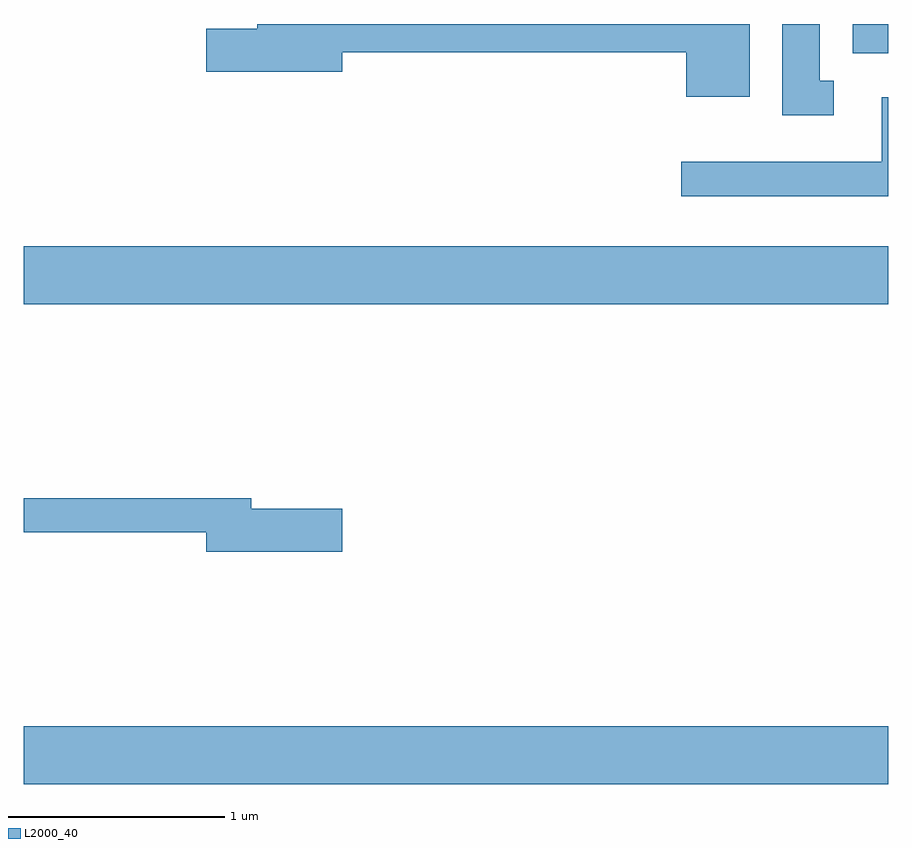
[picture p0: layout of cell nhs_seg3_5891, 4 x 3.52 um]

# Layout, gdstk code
import gdstk
lib = gdstk.Library(unit=1e-6, precision=1e-09)
def R(c, l, rs):  # rectangles x0, y0, x1, y1
    for r in rs: c.add(gdstk.rectangle(r[:2], r[2:], *l))
def P(c, l, *ps):  # polygons
    for p in ps: c.add(gdstk.Polygon(p, *l))
L2000_40 = (2000, 40)

nhs_seg3_5891 = lib.new_cell('nhs_seg3_5891')
R(nhs_seg3_5891, L2000_40, [(357.611,1210.376,361.611,1210.644), (357.611,1212.596,361.611,1212.864), (361.446,1213.756,361.611,1213.892)])
P(nhs_seg3_5891, L2000_40, [(360.969,1213.892),(358.691,1213.892),(358.691,1213.869),(358.456,1213.869),(358.456,1213.671),(359.084,1213.671),(359.084,1213.761),(360.676,1213.761),(360.676,1213.556),(360.969,1213.556)],
  [(361.358,1213.629),(361.294,1213.629),(361.294,1213.892),(361.121,1213.892),(361.121,1213.471),(361.358,1213.471)],
  [(361.611,1213.554),(361.581,1213.554),(361.581,1213.254),(360.653,1213.254),(360.653,1213.096),(361.611,1213.096)],
  [(359.084,1211.649),(358.664,1211.649),(358.664,1211.699),(357.611,1211.699),(357.611,1211.541),(358.456,1211.541),(358.456,1211.451),(359.084,1211.451)])

lib.write_gds('nhs_seg3_5891.gds')
